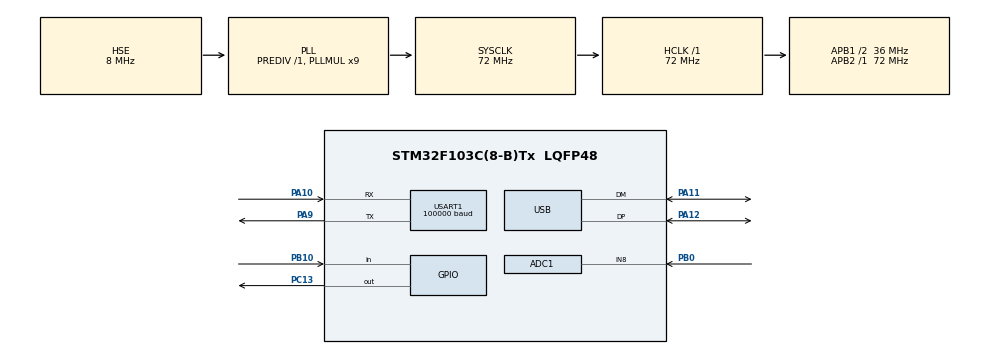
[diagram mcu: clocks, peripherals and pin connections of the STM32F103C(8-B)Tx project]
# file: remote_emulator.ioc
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ADC1.Channel-4\#ChannelRegularConversion=ADC_CHANNEL_8
ADC1.ContinuousConvMode=ENABLE
ADC1.NbrOfConversionFlag=1
ADC1.Rank-4\#ChannelRegularConversion=1
ADC1.SamplingTime-4\#ChannelRegularConversion=ADC_SAMPLETIME_55CYCLES_5
ADC1.master=1
Dma.Request0=USART1_TX
Dma.Request1=USART1_RX
Dma.USART1_RX.1.Direction=DMA_PERIPH_TO_MEMORY
Dma.USART1_RX.1.Instance=DMA1_Channel5
Dma.USART1_RX.1.MemDataAlignment=DMA_MDATAALIGN_BYTE
Dma.USART1_RX.1.MemInc=DMA_MINC_ENABLE
Dma.USART1_RX.1.Mode=DMA_CIRCULAR
Dma.USART1_RX.1.PeriphDataAlignment=DMA_PDATAALIGN_BYTE
Dma.USART1_RX.1.PeriphInc=DMA_PINC_DISABLE
Dma.USART1_RX.1.Priority=DMA_PRIORITY_LOW
Dma.USART1_TX.0.Direction=DMA_MEMORY_TO_PERIPH
Dma.USART1_TX.0.Instance=DMA1_Channel4
Dma.USART1_TX.0.MemDataAlignment=DMA_MDATAALIGN_BYTE
Dma.USART1_TX.0.MemInc=DMA_MINC_ENABLE
Dma.USART1_TX.0.Mode=DMA_NORMAL
Dma.USART1_TX.0.PeriphDataAlignment=DMA_PDATAALIGN_BYTE
Dma.USART1_TX.0.PeriphInc=DMA_PINC_DISABLE
Dma.USART1_TX.0.Priority=DMA_PRIORITY_LOW
Mcu.Family=STM32F1
Mcu.Name=STM32F103C(8-B)Tx
Mcu.Package=LQFP48
NVIC.ADC1_2_IRQn=true\:0\:0\:false\:false\:true\:true\:true\:true
NVIC.DMA1_Channel4_IRQn=true\:0\:0\:false\:false\:true\:false\:true\:true
NVIC.DMA1_Channel5_IRQn=true\:0\:0\:false\:false\:true\:false\:true\:true
NVIC.PriorityGroup=NVIC_PRIORITYGROUP_4
NVIC.TIM1_UP_IRQn=true\:0\:0\:false\:false\:true\:true\:true\:true
NVIC.TIM2_IRQn=true\:0\:0\:false\:false\:true\:true\:true\:true
NVIC.TIM3_IRQn=true\:0\:0\:false\:false\:true\:true\:true\:true
NVIC.TIM4_IRQn=true\:0\:0\:false\:false\:true\:true\:true\:true
NVIC.USART1_IRQn=true\:0\:0\:false\:false\:true\:true\:true\:true
NVIC.USB_LP_CAN1_RX0_IRQn=true\:0\:0\:false\:false\:true\:false\:true\:true
PA10.Mode=Asynchronous
PA10.Signal=USART1_RX
PA11.Mode=Device
PA11.Signal=USB_DM
PA12.Mode=Device
PA12.Signal=USB_DP
PA13.Mode=Serial_Wire
PA13.Signal=SYS_JTMS-SWDIO
PA14.Mode=Serial_Wire
PA14.Signal=SYS_JTCK-SWCLK
PA9.Mode=Asynchronous
PA9.Signal=USART1_TX
PB0.Signal=ADCx_IN8
PB10.GPIO_PuPd=GPIO_PULLUP
PB10.Signal=GPIO_Input
PC13-TAMPER-RTC.Signal=GPIO_Output
PC14-OSC32_IN.Mode=LSE-External-Oscillator
PC14-OSC32_IN.Signal=RCC_OSC32_IN
PC15-OSC32_OUT.Mode=LSE-External-Oscillator
PC15-OSC32_OUT.Signal=RCC_OSC32_OUT
PD0-OSC_IN.Mode=HSE-External-Oscillator
PD0-OSC_IN.Signal=RCC_OSC_IN
PD1-OSC_OUT.Mode=HSE-External-Oscillator
PD1-OSC_OUT.Signal=RCC_OSC_OUT
ProjectManager.HeapSize=0x200
ProjectManager.StackSize=0x400
ProjectManager.TargetToolchain=STM32CubeIDE
RCC.ADCPresc=RCC_ADCPCLK2_DIV6
RCC.AHBFreq_Value=72000000
RCC.APB1CLKDivider=RCC_HCLK_DIV2
RCC.APB1Freq_Value=36000000
RCC.APB1TimFreq_Value=72000000
RCC.APB2Freq_Value=72000000
RCC.APB2TimFreq_Value=72000000
RCC.HCLKFreq_Value=72000000
RCC.PLLMUL=RCC_PLL_MUL9
RCC.PLLSourceVirtual=RCC_PLLSOURCE_HSE
RCC.SYSCLKFreq_VALUE=72000000
RCC.SYSCLKSource=RCC_SYSCLKSOURCE_PLLCLK
RCC.USBFreq_Value=48000000
RCC.USBPrescaler=RCC_USBCLKSOURCE_PLL_DIV1_5
SH.ADCx_IN8.0=ADC1_IN8,IN8
TIM2.Prescaler=20
TIM4.Period=55535
USART1.BaudRate=100000
USART1.Parity=PARITY_EVEN
USART1.StopBits=STOPBITS_2
USART1.VirtualMode=VM_ASYNC
USART1.WordLength=WORDLENGTH_9B
USB_DEVICE.CLASS_NAME_FS=CDC
USB_DEVICE.VirtualMode=Cdc
USB_DEVICE.VirtualModeFS=Cdc_FS
VP_TIM1_VS_ClockSourceINT.Mode=Internal
VP_TIM2_VS_ClockSourceINT.Mode=Internal
VP_TIM3_VS_ClockSourceINT.Mode=Internal
VP_TIM4_VS_ClockSourceINT.Mode=Internal
VP_USB_DEVICE_VS_USB_DEVICE_CDC_FS.Mode=CDC_FS
board=custom

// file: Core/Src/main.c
/* USER CODE BEGIN Header */
/**
  ******************************************************************************
  * @file           : main.c
  * @brief          : Main program body
  ******************************************************************************
  * @attention
  *
  * Copyright (c) 2025 STMicroelectronics.
  * All rights reserved.
  *
  * This software is licensed under terms that can be found in the LICENSE file
  * in the root directory of this software component.
  * If no LICENSE file comes with this software, it is provided AS-IS.
  *
  ******************************************************************************
  */
/* USER CODE END Header */
#include "main.h"
#include "usb_device.h"

/* USER CODE BEGIN Includes */
#include "string.h"
#include "usbd_cdc_if.h"
/* USER CODE END Includes */

/* USER CODE BEGIN PTD */
#define		SBUS_MAX_SIZE		25
#define		CH17_MASK_			0x01
#define		CH18_MASK_			0x02
#define		FAILSAFE_MASK_		0x04
#define		LOST_FRAME_MASK_	0x08
/* USER CODE END PTD */

ADC_HandleTypeDef hadc1;

TIM_HandleTypeDef htim1;
TIM_HandleTypeDef htim2;
TIM_HandleTypeDef htim3;
TIM_HandleTypeDef htim4;

UART_HandleTypeDef huart1;
DMA_HandleTypeDef hdma_usart1_tx;
DMA_HandleTypeDef hdma_usart1_rx;

/* USER CODE BEGIN PV */
uint8_t sbus_out[] = {0x0F,
					  0x00, 0x00, 0x00, 0x00, 0x00, 0x00, 0x00, 0x00, 0x00, 0x00, 0x00,
					  0x00, 0x00, 0x00, 0x00, 0x00, 0x00, 0x00, 0x00, 0x00, 0x00, 0x00, 0x00, 0x00};

uint8_t sbus_out_t[] = {0xf,
						0xe0, 0x3, 0x5f, 0x2b, 0xc0, 0xd7, 0x8a, 0x56, 0xb4, 0xa2, 0x15,
						0xad, 0x68, 0x5, 0xf8, 0xc0, 0x7, 0x3e, 0xf0, 0x81, 0xf, 0x7c, 0x0, 0x0};

int16_t ch[25];
uint16_t CH[16];

uint8_t crc8_buf[23];

int arm = 172;
int thr = 172;

uint16_t adc = 0;

/* USER CODE END PV */

void SystemClock_Config(void);
static void MX_GPIO_Init(void);
static void MX_DMA_Init(void);
static void MX_USART1_UART_Init(void);
static void MX_TIM1_Init(void);
static void MX_TIM2_Init(void);
static void MX_TIM3_Init(void);
static void MX_TIM4_Init(void);
static void MX_ADC1_Init(void);

/* USER CODE BEGIN 0 */

void HAL_TIM_PeriodElapsedCallback(TIM_HandleTypeDef *htim)
{
	if (htim == &htim1)
	{
		if (HAL_GPIO_ReadPin(GPIOB, GPIO_PIN_10) == GPIO_PIN_RESET)
		{
//			HAL_GPIO_WritePin(GPIOC, GPIO_PIN_13, GPIO_PIN_SET);
			arm = 172;
		}
		else
		{
//			HAL_GPIO_WritePin(GPIOC, GPIO_PIN_13, GPIO_PIN_RESET);
			arm = 1811;
		}
	}
	else if (htim == &htim2)
	{
//		adc = HAL_ADC_GetValue(&hadc1);
		if (arm == 1811)
		{
			thr = ((float)(1811-172) * ((float)adc/4095)) + 172;
		}
		else
		{
			thr = 172;
		}
	}
	else if (htim == &htim3)
	{

		ch[2] = thr;
		ch[4] = arm;

		sbus_out[0] = (uint8_t)(0x0F);
		sbus_out[1] = (uint8_t)(ch[0] & 0x07FF);
		sbus_out[2] = (uint8_t)(((ch[0] & 0x07FF) >> 8) | ((ch[1] & 0x07FF) << 3));
		sbus_out[3] = (uint8_t)(((ch[1] & 0x07FF) >> 5) | ((ch[2] & 0x07FF) << 6));
		sbus_out[4] = (uint8_t)(((ch[2] & 0x07FF) >> 2));
		sbus_out[5] = (uint8_t)(((ch[2] & 0x07FF) >> 10) | ((ch[3] & 0x07FF) << 1));
		sbus_out[6] = (uint8_t)(((ch[3] & 0x07FF) >> 7) | ((ch[4] & 0x07FF) << 4));
		sbus_out[7] = (uint8_t)(((ch[4] & 0x07FF) >> 4) | ((ch[5] & 0x07FF) << 7));
		sbus_out[8] = (uint8_t)(((ch[5] & 0x07FF) >> 1));
		sbus_out[9] = (uint8_t)(((ch[5] & 0x07FF) >> 9)  | ((ch[6] & 0x07FF) << 2));
		sbus_out[10] = (uint8_t)(((ch[6] & 0x07FF) >> 6)  | ((ch[7] & 0x07FF) << 5));
		sbus_out[11] = (uint8_t)(((ch[7] & 0x07FF) >> 3));
		sbus_out[12] = (uint8_t)((ch[8] & 0x07FF));
		sbus_out[13] = (uint8_t)(((ch[8] & 0x07FF) >> 8) | ((ch[9]  & 0x07FF) << 3));
		sbus_out[14] = (uint8_t)(((ch[9] & 0x07FF) >> 5) | ((ch[10] & 0x07FF) << 6));
		sbus_out[15] = (uint8_t)(((ch[10] & 0x07FF) >> 2));
		sbus_out[16] = (uint8_t)(((ch[10] & 0x07FF) >> 10) | ((ch[11] & 0x07FF) << 1));
		sbus_out[17] = (uint8_t)(((ch[11] & 0x07FF) >> 7)  | ((ch[12] & 0x07FF) << 4));
		sbus_out[18] = (uint8_t)(((ch[12] & 0x07FF) >> 4)  | ((ch[13] & 0x07FF) << 7));
		sbus_out[19] = (uint8_t)(((ch[13] & 0x07FF) >> 1));
		sbus_out[20] = (uint8_t)(((ch[13] & 0x07FF) >> 9)  | ((ch[14] & 0x07FF) << 2));
		sbus_out[21] = (uint8_t)(((ch[14] & 0x07FF) >> 6)  | ((ch[15] & 0x07FF) << 5));
		sbus_out[22] = (uint8_t)(((ch[15] & 0x07FF) >> 3));
		sbus_out[23] = (uint8_t)(0x00 | (0x00 * CH17_MASK_) | (0x00 * CH18_MASK_) | (0x00 * FAILSAFE_MASK_) | (0x00 * LOST_FRAME_MASK_));
		sbus_out[24] = (uint8_t)(0x00);

	}
	else if (htim == &htim4)
	{
		HAL_UART_Transmit_DMA(&huart1, sbus_out, SBUS_MAX_SIZE);
	}
}

void HAL_UART_RxCpltCallback(UART_HandleTypeDef *huart)
{
	if (huart == &huart1)
	{

	}
}

void HAL_ADC_ConvCpltCallback(ADC_HandleTypeDef* hadc)
{
    if(hadc->Instance == ADC1) //check if the interrupt comes from ACD1
    {
        adc = HAL_ADC_GetValue(&hadc1);
    }
}

void USB_CDC_RxHandler(uint8_t* Buf, uint32_t Len)
{
	HAL_GPIO_TogglePin(GPIOC, GPIO_PIN_13);
	CDC_Transmit_FS(sbus_out, SBUS_MAX_SIZE);
	HAL_GPIO_TogglePin(GPIOC, GPIO_PIN_13);
}

/* USER CODE END 0 */

int main(void)
{

  /* MCU Configuration--------------------------------------------------------*/

  /* Reset of all peripherals, Initializes the Flash interface and the Systick. */
  HAL_Init();

  /* Configure the system clock */
  SystemClock_Config();

  /* Initialize all configured peripherals */
  MX_GPIO_Init();
  MX_DMA_Init();
  MX_USART1_UART_Init();
  MX_TIM1_Init();
  MX_TIM2_Init();
  MX_TIM3_Init();
  MX_TIM4_Init();
  MX_ADC1_Init();
  MX_USB_DEVICE_Init();
  /* USER CODE BEGIN 2 */

  HAL_ADCEx_Calibration_Start(&hadc1);
  HAL_TIM_Base_Start_IT(&htim1);
  HAL_TIM_Base_Start_IT(&htim2);
  HAL_TIM_Base_Start_IT(&htim3);
  HAL_TIM_Base_Start_IT(&htim4);
  HAL_UART_Transmit_DMA(&huart1, sbus_out, SBUS_MAX_SIZE);
  HAL_ADC_Start_IT(&hadc1);

//  HAL_UART_Receive_DMA(&huart1, sbus_in, 64)

  /* USER CODE END 2 */

  /* Infinite loop */
  /* USER CODE BEGIN WHILE */
  for (int i = 0; i < 16; i++)
  {
	  ch[i] = 171;
  }

  ch[0] = 995;
  ch[1] = 995;
  ch[2] = 172;
  ch[3] = 995;

  while (1)
  {
    /* USER CODE END WHILE */

  }
}

void SystemClock_Config(void)
{
  RCC_OscInitTypeDef RCC_OscInitStruct = {0};
  RCC_ClkInitTypeDef RCC_ClkInitStruct = {0};
  RCC_PeriphCLKInitTypeDef PeriphClkInit = {0};

  /** Initializes the RCC Oscillators according to the specified parameters
  * in the RCC_OscInitTypeDef structure.
  */
  RCC_OscInitStruct.OscillatorType = RCC_OSCILLATORTYPE_HSE;
  RCC_OscInitStruct.HSEState = RCC_HSE_ON;
  RCC_OscInitStruct.HSEPredivValue = RCC_HSE_PREDIV_DIV1;
  RCC_OscInitStruct.HSIState = RCC_HSI_ON;
  RCC_OscInitStruct.PLL.PLLState = RCC_PLL_ON;
  RCC_OscInitStruct.PLL.PLLSource = RCC_PLLSOURCE_HSE;
  RCC_OscInitStruct.PLL.PLLMUL = RCC_PLL_MUL9;
  if (HAL_RCC_OscConfig(&RCC_OscInitStruct) != HAL_OK)
  {
    Error_Handler();
  }

  /** Initializes the CPU, AHB and APB buses clocks
  */
  RCC_ClkInitStruct.ClockType = RCC_CLOCKTYPE_HCLK|RCC_CLOCKTYPE_SYSCLK
                              |RCC_CLOCKTYPE_PCLK1|RCC_CLOCKTYPE_PCLK2;
  RCC_ClkInitStruct.SYSCLKSource = RCC_SYSCLKSOURCE_PLLCLK;
  RCC_ClkInitStruct.AHBCLKDivider = RCC_SYSCLK_DIV1;
  RCC_ClkInitStruct.APB1CLKDivider = RCC_HCLK_DIV2;
  RCC_ClkInitStruct.APB2CLKDivider = RCC_HCLK_DIV1;

  if (HAL_RCC_ClockConfig(&RCC_ClkInitStruct, FLASH_LATENCY_2) != HAL_OK)
  {
    Error_Handler();
  }
  PeriphClkInit.PeriphClockSelection = RCC_PERIPHCLK_ADC|RCC_PERIPHCLK_USB;
  PeriphClkInit.AdcClockSelection = RCC_ADCPCLK2_DIV6;
  PeriphClkInit.UsbClockSelection = RCC_USBCLKSOURCE_PLL_DIV1_5;
  if (HAL_RCCEx_PeriphCLKConfig(&PeriphClkInit) != HAL_OK)
  {
    Error_Handler();
  }
}

static void MX_ADC1_Init(void)
{

  ADC_ChannelConfTypeDef sConfig = {0};

  /** Common config
  */
  hadc1.Instance = ADC1;
  hadc1.Init.ScanConvMode = ADC_SCAN_DISABLE;
  hadc1.Init.ContinuousConvMode = ENABLE;
  hadc1.Init.DiscontinuousConvMode = DISABLE;
  hadc1.Init.ExternalTrigConv = ADC_SOFTWARE_START;
  hadc1.Init.DataAlign = ADC_DATAALIGN_RIGHT;
  hadc1.Init.NbrOfConversion = 1;
  if (HAL_ADC_Init(&hadc1) != HAL_OK)
  {
    Error_Handler();
  }

  /** Configure Regular Channel
  */
  sConfig.Channel = ADC_CHANNEL_8;
  sConfig.Rank = ADC_REGULAR_RANK_1;
  sConfig.SamplingTime = ADC_SAMPLETIME_55CYCLES_5;
  if (HAL_ADC_ConfigChannel(&hadc1, &sConfig) != HAL_OK)
  {
    Error_Handler();
  }

}

static void MX_TIM1_Init(void)
{

  TIM_ClockConfigTypeDef sClockSourceConfig = {0};
  TIM_MasterConfigTypeDef sMasterConfig = {0};

  htim1.Instance = TIM1;
  htim1.Init.Prescaler = 0;
  htim1.Init.CounterMode = TIM_COUNTERMODE_UP;
  htim1.Init.Period = 65535;
  htim1.Init.ClockDivision = TIM_CLOCKDIVISION_DIV1;
  htim1.Init.RepetitionCounter = 0;
  htim1.Init.AutoReloadPreload = TIM_AUTORELOAD_PRELOAD_DISABLE;
  if (HAL_TIM_Base_Init(&htim1) != HAL_OK)
  {
    Error_Handler();
  }
  sClockSourceConfig.ClockSource = TIM_CLOCKSOURCE_INTERNAL;
  if (HAL_TIM_ConfigClockSource(&htim1, &sClockSourceConfig) != HAL_OK)
  {
    Error_Handler();
  }
  sMasterConfig.MasterOutputTrigger = TIM_TRGO_RESET;
  sMasterConfig.MasterSlaveMode = TIM_MASTERSLAVEMODE_DISABLE;
  if (HAL_TIMEx_MasterConfigSynchronization(&htim1, &sMasterConfig) != HAL_OK)
  {
    Error_Handler();
  }

}

static void MX_TIM2_Init(void)
{

  TIM_ClockConfigTypeDef sClockSourceConfig = {0};
  TIM_MasterConfigTypeDef sMasterConfig = {0};

  htim2.Instance = TIM2;
  htim2.Init.Prescaler = 20;
  htim2.Init.CounterMode = TIM_COUNTERMODE_UP;
  htim2.Init.Period = 65535;
  htim2.Init.ClockDivision = TIM_CLOCKDIVISION_DIV1;
  htim2.Init.AutoReloadPreload = TIM_AUTORELOAD_PRELOAD_DISABLE;
  if (HAL_TIM_Base_Init(&htim2) != HAL_OK)
  {
    Error_Handler();
  }
  sClockSourceConfig.ClockSource = TIM_CLOCKSOURCE_INTERNAL;
  if (HAL_TIM_ConfigClockSource(&htim2, &sClockSourceConfig) != HAL_OK)
  {
    Error_Handler();
  }
  sMasterConfig.MasterOutputTrigger = TIM_TRGO_RESET;
  sMasterConfig.MasterSlaveMode = TIM_MASTERSLAVEMODE_DISABLE;
  if (HAL_TIMEx_MasterConfigSynchronization(&htim2, &sMasterConfig) != HAL_OK)
  {
    Error_Handler();
  }

}

static void MX_TIM3_Init(void)
{

  TIM_ClockConfigTypeDef sClockSourceConfig = {0};
  TIM_MasterConfigTypeDef sMasterConfig = {0};

  htim3.Instance = TIM3;
  htim3.Init.Prescaler = 0;
  htim3.Init.CounterMode = TIM_COUNTERMODE_UP;
  htim3.Init.Period = 65535;
  htim3.Init.ClockDivision = TIM_CLOCKDIVISION_DIV1;
  htim3.Init.AutoReloadPreload = TIM_AUTORELOAD_PRELOAD_DISABLE;
  if (HAL_TIM_Base_Init(&htim3) != HAL_OK)
  {
    Error_Handler();
  }
  sClockSourceConfig.ClockSource = TIM_CLOCKSOURCE_INTERNAL;
  if (HAL_TIM_ConfigClockSource(&htim3, &sClockSourceConfig) != HAL_OK)
  {
    Error_Handler();
  }
  sMasterConfig.MasterOutputTrigger = TIM_TRGO_RESET;
  sMasterConfig.MasterSlaveMode = TIM_MASTERSLAVEMODE_DISABLE;
  if (HAL_TIMEx_MasterConfigSynchronization(&htim3, &sMasterConfig) != HAL_OK)
  {
    Error_Handler();
  }

}

static void MX_TIM4_Init(void)
{

  TIM_ClockConfigTypeDef sClockSourceConfig = {0};
  TIM_MasterConfigTypeDef sMasterConfig = {0};

  htim4.Instance = TIM4;
  htim4.Init.Prescaler = 0;
  htim4.Init.CounterMode = TIM_COUNTERMODE_UP;
  htim4.Init.Period = 55535;
  htim4.Init.ClockDivision = TIM_CLOCKDIVISION_DIV1;
  htim4.Init.AutoReloadPreload = TIM_AUTORELOAD_PRELOAD_DISABLE;
  if (HAL_TIM_Base_Init(&htim4) != HAL_OK)
  {
    Error_Handler();
  }
  sClockSourceConfig.ClockSource = TIM_CLOCKSOURCE_INTERNAL;
  if (HAL_TIM_ConfigClockSource(&htim4, &sClockSourceConfig) != HAL_OK)
  {
    Error_Handler();
  }
  sMasterConfig.MasterOutputTrigger = TIM_TRGO_RESET;
  sMasterConfig.MasterSlaveMode = TIM_MASTERSLAVEMODE_DISABLE;
  if (HAL_TIMEx_MasterConfigSynchronization(&htim4, &sMasterConfig) != HAL_OK)
  {
    Error_Handler();
  }

}

static void MX_USART1_UART_Init(void)
{

  huart1.Instance = USART1;
  huart1.Init.BaudRate = 100000;
  huart1.Init.WordLength = UART_WORDLENGTH_9B;
  huart1.Init.StopBits = UART_STOPBITS_2;
  huart1.Init.Parity = UART_PARITY_EVEN;
  huart1.Init.Mode = UART_MODE_TX_RX;
  huart1.Init.HwFlowCtl = UART_HWCONTROL_NONE;
  huart1.Init.OverSampling = UART_OVERSAMPLING_16;
  if (HAL_UART_Init(&huart1) != HAL_OK)
  {
    Error_Handler();
  }

}

static void MX_DMA_Init(void)
{

  /* DMA controller clock enable */
  __HAL_RCC_DMA1_CLK_ENABLE();

  /* DMA interrupt init */
  /* DMA1_Channel4_IRQn interrupt configuration */
  HAL_NVIC_SetPriority(DMA1_Channel4_IRQn, 0, 0);
  HAL_NVIC_EnableIRQ(DMA1_Channel4_IRQn);
  /* DMA1_Channel5_IRQn interrupt configuration */
  HAL_NVIC_SetPriority(DMA1_Channel5_IRQn, 0, 0);
  HAL_NVIC_EnableIRQ(DMA1_Channel5_IRQn);

}

static void MX_GPIO_Init(void)
{
  GPIO_InitTypeDef GPIO_InitStruct = {0};

  /* GPIO Ports Clock Enable */
  __HAL_RCC_GPIOC_CLK_ENABLE();
  __HAL_RCC_GPIOD_CLK_ENABLE();
  __HAL_RCC_GPIOB_CLK_ENABLE();
  __HAL_RCC_GPIOA_CLK_ENABLE();

  /*Configure GPIO pin Output Level */
  HAL_GPIO_WritePin(GPIOC, GPIO_PIN_13, GPIO_PIN_RESET);

  /*Configure GPIO pin : PC13 */
  GPIO_InitStruct.Pin = GPIO_PIN_13;
  GPIO_InitStruct.Mode = GPIO_MODE_OUTPUT_PP;
  GPIO_InitStruct.Pull = GPIO_NOPULL;
  GPIO_InitStruct.Speed = GPIO_SPEED_FREQ_LOW;
  HAL_GPIO_Init(GPIOC, &GPIO_InitStruct);

  /*Configure GPIO pin : PB10 */
  GPIO_InitStruct.Pin = GPIO_PIN_10;
  GPIO_InitStruct.Mode = GPIO_MODE_INPUT;
  GPIO_InitStruct.Pull = GPIO_PULLUP;
  HAL_GPIO_Init(GPIOB, &GPIO_InitStruct);

}

void Error_Handler(void)
{
  __disable_irq();
  while (1)
  {
  }
}
